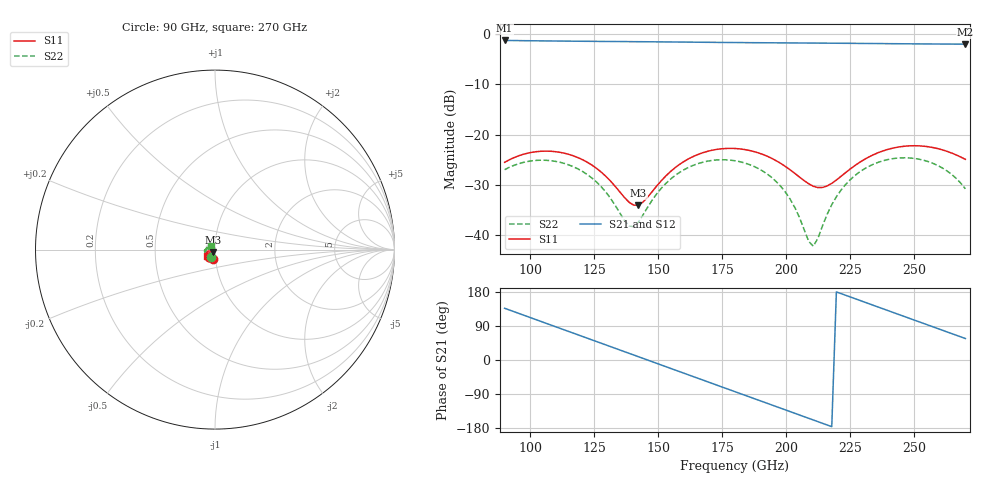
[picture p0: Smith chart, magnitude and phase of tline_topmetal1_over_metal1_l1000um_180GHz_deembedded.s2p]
! Created with skrf 2.0.1 (http://scikit-rf.org).
# GHz S DB R 50.0
!freq dBS11 angS11 dBS21 angS21 dBS12 angS12 dBS22 angS22
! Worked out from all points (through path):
!   101 points, 90 GHz to 270 GHz, reference 50 ohm
!   highest |S21| = -1.31 dB at 90 GHz (marker M1); lowest = -2.0 dB at 270 GHz (marker M2)
!   group delay of S21, straight-line fit = 6.79 ps
!   lowest |S11| = -34.0 dB at 142.2 GHz (marker M3), VSWR 1.04, Z = 48.8 - j1.57 ohm
!   |S11| at or under -10 dB: start of sweep to end of sweep
!   |S22| runs from -42.1 to -24.6 dB; largest |S21 - S12| = 9.4e-14
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90  -25.50 -102.5  -1.31 136.5  -1.31 136.5  -26.96 -119.7
99  -23.68 -119.1  -1.36 114.5  -1.36 114.5  -25.33 -139.5
106.2  -23.27 -133.0  -1.40 96.9  -1.40 96.9  -25.09 -155.8
120.6  -25.01 -158.2  -1.47 61.7  -1.47 61.7  -27.35 174.0
129.6  -28.30 -166.7  -1.51 39.7  -1.51 39.7  -31.43 162.6
138.6  -33.41 -148.7  -1.54 17.7  -1.54 17.7  -38.11 -169.5
142.2  -33.99 -126.6  -1.55 8.9  -1.55 8.9  -37.42 -138.9
151.2  -29.15 -97.5  -1.59 -13.2  -1.59 -13.2  -30.65 -121.1
158.4  -25.88 -100.4  -1.62 -30.8  -1.62 -30.8  -27.47 -130.6
167.4  -23.59 -112.2  -1.67 -52.8  -1.67 -52.8  -25.47 -148.1
180  -22.75 -132.1  -1.72 -83.6  -1.72 -83.6  -25.18 -175.3
189  -23.59 -145.1  -1.76 -105.5  -1.76 -105.5  -26.70 165.5
198  -25.75 -153.4  -1.79 -127.5  -1.79 -127.5  -30.34 149.4
203.4  -27.70 -152.7  -1.80 -140.7  -1.80 -140.7  -34.49 146.1
208.8  -29.75 -143.2  -1.82 -153.9  -1.82 -153.9  -41.20 172.2
210.6  -30.24 -137.5  -1.83 -158.3  -1.83 -158.3  -42.13 -160.8
217.8  -29.67 -111.5  -1.85 -175.9  -1.85 -175.9  -33.91 -115.7
223.2  -27.54 -102.0  -1.87 170.9  -1.87 170.9  -29.90 -120.0
232.2  -24.45 -103.1  -1.91 148.9  -1.91 148.9  -26.32 -136.7
241.2  -22.73 -112.7  -1.95 126.9  -1.95 126.9  -24.80 -156.4
255.6  -22.41 -131.2  -2.00 91.8  -2.00 91.8  -25.37 170.9
270  -24.91 -142.4  -2.05 56.6  -2.05 56.6  -30.75 141.3
